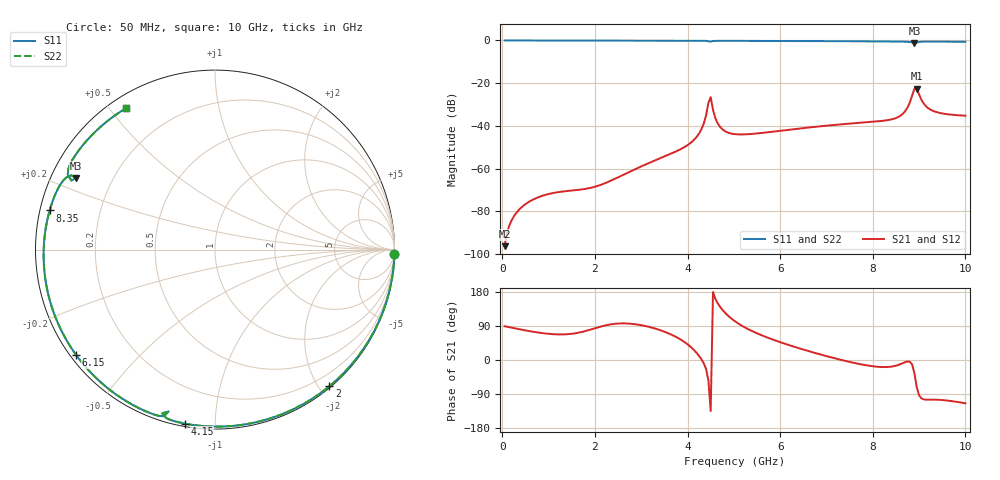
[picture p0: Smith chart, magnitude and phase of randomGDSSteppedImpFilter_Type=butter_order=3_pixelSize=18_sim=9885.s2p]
! freq	dB(S11)	phase(S11)	dB(S12)	phase(S12)
!  dB(S21)	phase(S21)	dB(S22)	phase(S22)
!S-par simulation data
#  GHz  S  DB  R 50
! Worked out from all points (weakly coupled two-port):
!   200 points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, 50 MHz to 10 GHz, reference 50 ohm
!   highest |S21| = -22.54 dB at 8.95 GHz (marker M1); lowest = -96.3 dB at 50 MHz (marker M2)
!   lowest |S11| = -1.2 dB at 8.9 GHz (marker M3), VSWR 14.69, Z = 3.6 + j12.1 ohm
!   |S11| at or under -10 dB: nowhere
!   |S22| runs from -1.2 to 0.0 dB; largest |S21 - S12| = 0
!   S11 on the Smith chart (normalised r, x): 50 MHz: 0, -89; 2 GHz: 0.02, -2.14; 4.15 GHz: 0.01, -0.84; 6.15 GHz: 0.02, -0.34; 8.35 GHz: 0.03, +0.12; 10 GHz: 0.05, +0.55
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0.05  -0.00 -1.3  -96.33 89.0  -96.33 89.0  -0.00 -1.3
0.3  -0.00 -7.7  -80.83 82.9  -80.83 82.9  -0.00 -7.7
0.95  -0.03 -24.2  -72.19 69.7  -72.19 69.7  -0.03 -24.2
1.75  -0.06 -44.0  -69.66 74.9  -69.66 74.9  -0.06 -44.0
2  -0.06 -50.0  -68.51 83.7  -68.51 83.7  -0.06 -50.0
3.4  -0.11 -82.9  -55.24 79.1  -55.24 79.1  -0.11 -82.9
4.15  -0.14 -99.9  -46.30 24.9  -46.30 24.9  -0.14 -99.9
4.35  -0.17 -104.7  -38.93 -8.8  -38.93 -8.8  -0.17 -104.7
4.45  -0.37 -107.8  -29.26 -53.2  -29.26 -53.2  -0.37 -107.9
4.5  -0.56 -106.0  -26.52 -134.8  -26.52 -134.8  -0.57 -106.0
4.6  -0.20 -108.6  -36.35 161.6  -36.35 161.6  -0.20 -108.6
4.7  -0.18 -111.1  -40.42 140.8  -40.42 140.8  -0.18 -111.1
5.05  -0.18 -119.0  -43.91 100.2  -43.91 100.2  -0.18 -119.0
6.15  -0.25 -142.7  -41.91 41.0  -41.91 41.0  -0.25 -142.8
6.7  -0.30 -154.8  -40.57 20.4  -40.57 20.4  -0.30 -154.8
8.35  -0.48 166.7  -37.20 -18.2  -37.20 -18.2  -0.48 166.7
8.7  -0.59 157.2  -33.12 -5.8  -33.12 -5.8  -0.59 157.2
8.9  -1.18 152.8  -22.55 -35.1  -22.55 -35.1  -1.17 152.7
8.95  -1.03 154.4  -22.54 -72.1  -22.54 -72.1  -1.04 154.3
9.1  -0.56 149.4  -29.54 -103.9  -29.54 -103.9  -0.56 149.4
9.25  -0.54 144.6  -32.45 -104.7  -32.45 -104.7  -0.54 144.6
10  -0.62 122.3  -35.24 -114.2  -35.24 -114.2  -0.62 122.3
